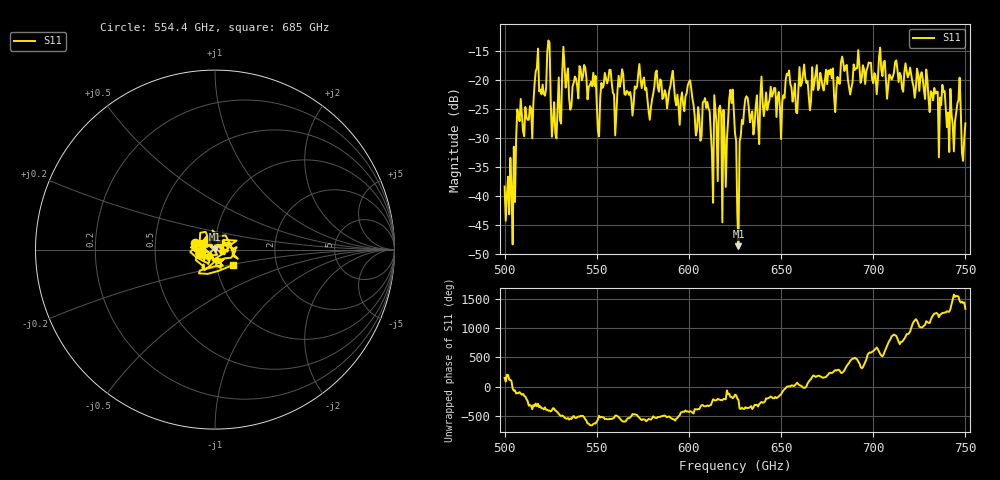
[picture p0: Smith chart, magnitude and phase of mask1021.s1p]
!Created with skrf (http://scikit-rf.org).
# GHz S MA R 50.0
!freq magS11 angS11
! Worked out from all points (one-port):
!   401 points, 500 GHz to 750 GHz, reference 50 ohm
!   lowest |S11| = -48.6 dB at 626.9 GHz (marker M1), VSWR 1.01, Z = 49.7 + j0.272 ohm
!   |S11| at or under -10 dB: start of sweep to end of sweep
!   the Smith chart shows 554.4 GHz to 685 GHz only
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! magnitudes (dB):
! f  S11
! 500 GHz  -38.3
! 505 GHz  -31.4
! 508.1 GHz  -27.0
! 513.8 GHz  -24.4
! 516.9 GHz  -18.4
! 523.8 GHz  -13.1
! 526.9 GHz  -23.8
! 531.2 GHz  -18.8
! 542.5 GHz  -19.3
! 551.2 GHz  -29.7
! 562.5 GHz  -21.1
! 593.8 GHz  -22.5
! 609.4 GHz  -24.8
! 611.9 GHz  -29.0
! 615 GHz  -27.6
! 619.4 GHz  -29.9
! 623.1 GHz  -23.9
! 625 GHz  -29.2
! 626.9 GHz  -48.6
! 631.2 GHz  -22.7
! 656.2 GHz  -23.7
! 680 GHz  -21.4
! 683.8 GHz  -17.0
! 687.5 GHz  -22.4
! 718.8 GHz  -19.5
! 742.5 GHz  -25.9
! 746.2 GHz  -23.4
! 750 GHz  -27.4
